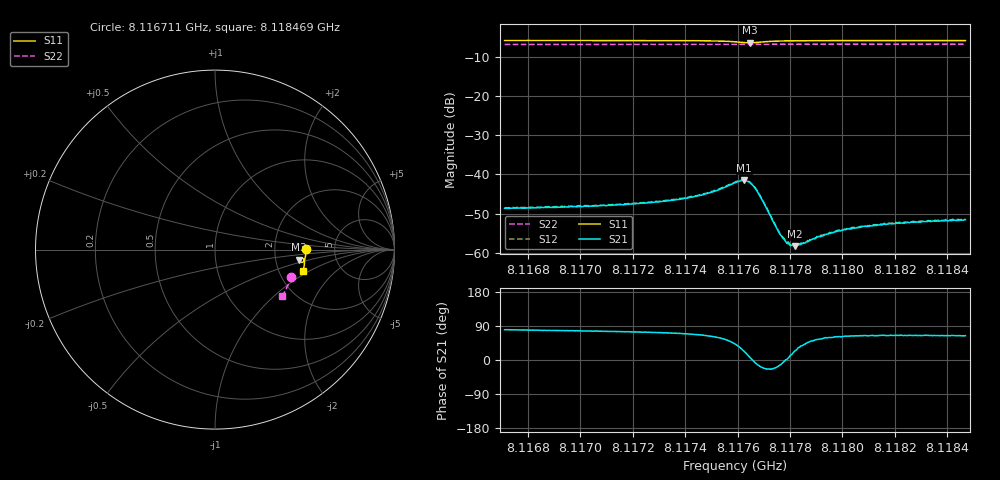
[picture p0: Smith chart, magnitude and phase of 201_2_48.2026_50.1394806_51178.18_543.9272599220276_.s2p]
#  HZ  S  RI  R  50.00
! Rohde & Schwarz Vector Network Analyzer
! Rohde-Schwarz,ZNB20-2Port,1311601062101988,3.16
! Created: UTC 3/20/2024, 11:45:02 AM
! freq[Hz]  re:S11  im:S11  re:S21  im:S21  re:S12  im:S12  re:S22  im:S22
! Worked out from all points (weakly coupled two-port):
!   401 points, 8.116711 GHz to 8.118469 GHz, reference 50 ohm
!   highest |S21| = -41.55 dB at 8.117625 GHz (marker M1); lowest = -58.3 dB at 8.117819 GHz (marker M2)
!   lowest |S11| = -6.5 dB at 8.117647 GHz (marker M3), VSWR 2.79, Z = 136 - j19.9 ohm
!   |S11| at or under -10 dB: nowhere
!   |S22| runs from -6.9 to -6.8 dB; largest |S21 - S12| = 0.00023
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8.1167105e9  0.5066 0.0051  0.000648 0.00363  0.00074 0.00368  0.4247 -0.1502
8.1170051e9  0.5058 -0.0176  0.000906 0.00377  0.000989 0.00386  0.4181 -0.1694
8.1172997e9  0.5032 -0.042  0.00134 0.00424  0.00145 0.0043  0.4105 -0.1887
8.1173789e9  0.5018 -0.0493  0.00161 0.00452  0.00172 0.00464  0.4085 -0.1938
8.1174624e9  0.4989 -0.0578  0.00222 0.00498  0.00236 0.00504  0.406 -0.1993
8.117524e9  0.4944 -0.0651  0.00319 0.0054  0.00332 0.00549  0.404 -0.2033
8.1175899e9  0.482 -0.071  0.00577 0.00525  0.00595 0.00533  0.4016 -0.2074
8.1176251e9  0.4716 -0.0658  0.0077 0.00326  0.00787 0.00323  0.4003 -0.2092
8.1176471e9  0.4695 -0.0568  0.00778 0.000933  0.00792 0.000855  0.3995 -0.21
8.1176647e9  0.4728 -0.05  0.00674 -0.000688  0.00687 -0.000738  0.3993 -0.2109
8.1176823e9  0.4788 -0.0465  0.0053 -0.00145  0.00539 -0.00156  0.3992 -0.2117
8.1177438e9  0.4935 -0.0519  0.00209 -0.000784  0.00213 -0.000837  0.3979 -0.2159
8.1177658e9  0.4956 -0.0553  0.00163 -0.000326  0.00167 -0.000322  0.3973 -0.2174
8.117779e9  0.4966 -0.0574  0.00146 -7.46e-05  0.00149 -0.000101  0.3969 -0.2183
8.1177922e9  0.4972 -0.0592  0.0013 0.000105  0.00138 0.000142  0.3965 -0.2191
8.1178186e9  0.4981 -0.0627  0.00111 0.000497  0.00116 0.000521  0.3957 -0.2209
8.1178405e9  0.4985 -0.0653  0.00102 0.000764  0.0011 0.000744  0.3951 -0.2224
8.1178845e9  0.4987 -0.0703  0.000953 0.00114  0.000974 0.00115  0.3936 -0.2251
8.1179812e9  0.4982 -0.0795  0.000902 0.00165  0.000966 0.00168  0.3905 -0.2312
8.1180428e9  0.4975 -0.085  0.000928 0.00184  0.000957 0.00188  0.3884 -0.235
8.1181791e9  0.4958 -0.0963  0.00102 0.00213  0.00102 0.00216  0.3838 -0.2435
8.1184693e9  0.4909 -0.1185  0.00115 0.00238  0.00118 0.00237  0.3731 -0.2608
